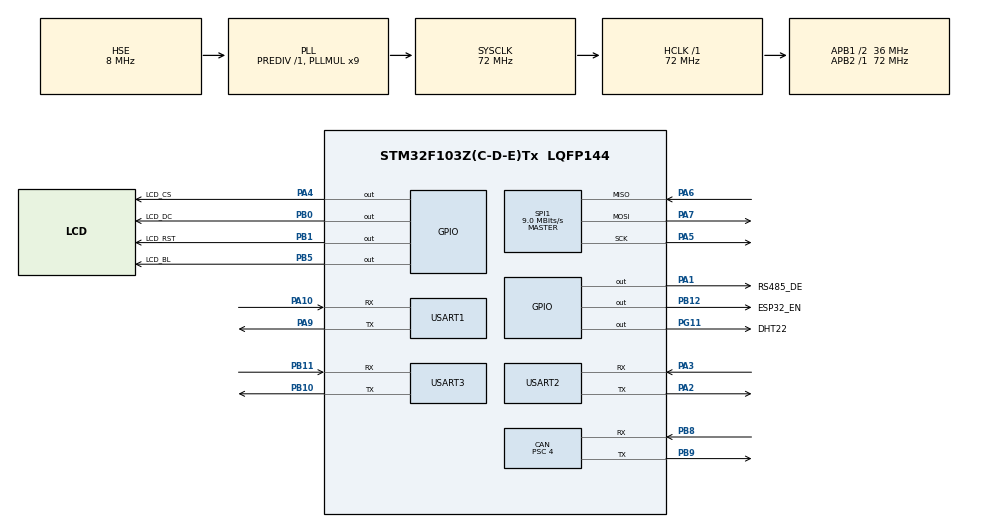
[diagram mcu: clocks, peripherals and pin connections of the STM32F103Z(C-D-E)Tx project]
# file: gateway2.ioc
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CAN.BS1=CAN_BS1_15TQ
CAN.BS2=CAN_BS2_2TQ
CAN.CalculateBaudRate=500000
CAN.CalculateTimeBit=2000
CAN.CalculateTimeQuantum=111.11111111111111
CAN.Prescaler=4
CAN.SJW=CAN_SJW_1TQ
Dma.Request0=USART2_RX
Dma.Request1=USART3_RX
Dma.USART2_RX.0.Direction=DMA_PERIPH_TO_MEMORY
Dma.USART2_RX.0.Instance=DMA1_Channel6
Dma.USART2_RX.0.MemDataAlignment=DMA_MDATAALIGN_BYTE
Dma.USART2_RX.0.MemInc=DMA_MINC_ENABLE
Dma.USART2_RX.0.Mode=DMA_NORMAL
Dma.USART2_RX.0.PeriphDataAlignment=DMA_PDATAALIGN_BYTE
Dma.USART2_RX.0.PeriphInc=DMA_PINC_DISABLE
Dma.USART2_RX.0.Priority=DMA_PRIORITY_LOW
Dma.USART3_RX.1.Direction=DMA_PERIPH_TO_MEMORY
Dma.USART3_RX.1.Instance=DMA1_Channel3
Dma.USART3_RX.1.MemDataAlignment=DMA_MDATAALIGN_BYTE
Dma.USART3_RX.1.MemInc=DMA_MINC_ENABLE
Dma.USART3_RX.1.Mode=DMA_NORMAL
Dma.USART3_RX.1.PeriphDataAlignment=DMA_PDATAALIGN_BYTE
Dma.USART3_RX.1.PeriphInc=DMA_PINC_DISABLE
Dma.USART3_RX.1.Priority=DMA_PRIORITY_LOW
FREERTOS.Tasks01=defaultTask,0,128,StartDefaultTask,Default,NULL,Dynamic,NULL,NULL
IWDG.Prescaler=IWDG_PRESCALER_64
IWDG.Reload=999
Mcu.Family=STM32F1
Mcu.Name=STM32F103Z(C-D-E)Tx
Mcu.Package=LQFP144
NVIC.CAN1_RX0_IRQn=true\:5\:0\:false\:false\:true\:true\:true\:true\:true
NVIC.CAN1_SCE_IRQn=true\:5\:0\:false\:false\:true\:true\:true\:true\:true
NVIC.DMA1_Channel3_IRQn=true\:5\:0\:false\:false\:true\:true\:false\:true\:true
NVIC.DMA1_Channel6_IRQn=true\:5\:0\:false\:false\:true\:true\:false\:true\:true
NVIC.PriorityGroup=NVIC_PRIORITYGROUP_4
NVIC.TIM4_IRQn=true\:15\:0\:false\:false\:true\:false\:false\:true\:true
NVIC.TimeBase=TIM4_IRQn
NVIC.TimeBaseIP=TIM4
NVIC.USART2_IRQn=true\:5\:0\:false\:false\:true\:true\:true\:true\:true
NVIC.USART3_IRQn=true\:5\:0\:false\:false\:true\:true\:true\:true\:true
OSC_IN.Mode=HSE-External-Oscillator
OSC_IN.Signal=RCC_OSC_IN
OSC_OUT.Mode=HSE-External-Oscillator
OSC_OUT.Signal=RCC_OSC_OUT
PA1.GPIO_Label=RS485_DE
PA1.Signal=GPIO_Output
PA10.Mode=Asynchronous
PA10.Signal=USART1_RX
PA13.Mode=Serial_Wire
PA13.Signal=SYS_JTMS-SWDIO
PA14.Mode=Serial_Wire
PA14.Signal=SYS_JTCK-SWCLK
PA2.Mode=Asynchronous
PA2.Signal=USART2_TX
PA3.Mode=Asynchronous
PA3.Signal=USART2_RX
PA4.GPIO_Label=LCD_CS
PA4.PinState=GPIO_PIN_SET
PA4.Signal=GPIO_Output
PA5.Mode=Full_Duplex_Master
PA5.Signal=SPI1_SCK
PA6.Mode=Full_Duplex_Master
PA6.Signal=SPI1_MISO
PA7.Mode=Full_Duplex_Master
PA7.Signal=SPI1_MOSI
PA9.Mode=Asynchronous
PA9.Signal=USART1_TX
PB0.GPIO_Label=LCD_DC
PB0.Signal=GPIO_Output
PB1.GPIO_Label=LCD_RST
PB1.Signal=GPIO_Output
PB10.Mode=Asynchronous
PB10.Signal=USART3_TX
PB11.Mode=Asynchronous
PB11.Signal=USART3_RX
PB12.GPIO_Label=ESP32_EN
PB12.Signal=GPIO_Output
PB5.GPIO_Label=LCD_BL
PB5.PinState=GPIO_PIN_SET
PB5.Signal=GPIO_Output
PB8.GPIO_PuPd=GPIO_PULLUP
PB8.Mode=CAN_Activate
PB8.Signal=CAN_RX
PB9.Mode=CAN_Activate
PB9.Signal=CAN_TX
PG11.GPIO_Label=DHT22
PG11.GPIO_ModeDefaultOutputPP=GPIO_MODE_OUTPUT_OD
PG11.GPIO_PuPd=GPIO_PULLUP
PG11.PinState=GPIO_PIN_SET
PG11.Signal=GPIO_Output
ProjectManager.HeapSize=0x200
ProjectManager.StackSize=0x400
ProjectManager.TargetToolchain=STM32CubeIDE
RCC.AHBFreq_Value=72000000
RCC.APB1CLKDivider=RCC_HCLK_DIV2
RCC.APB1Freq_Value=36000000
RCC.APB1TimFreq_Value=72000000
RCC.APB2Freq_Value=72000000
RCC.APB2TimFreq_Value=72000000
RCC.HCLKFreq_Value=72000000
RCC.PLLMUL=RCC_PLL_MUL9
RCC.PLLSourceVirtual=RCC_PLLSOURCE_HSE
RCC.SYSCLKFreq_VALUE=72000000
RCC.SYSCLKSource=RCC_SYSCLKSOURCE_PLLCLK
RCC.USBFreq_Value=72000000
SPI1.BaudRatePrescaler=SPI_BAUDRATEPRESCALER_8
SPI1.CalculateBaudRate=9.0 MBits/s
SPI1.Direction=SPI_DIRECTION_2LINES
SPI1.Mode=SPI_MODE_MASTER
SPI1.VirtualType=VM_MASTER
USART1.VirtualMode=VM_ASYNC
USART2.VirtualMode=VM_ASYNC
USART3.VirtualMode=VM_ASYNC
VP_FREERTOS_VS_CMSIS_V1.Mode=CMSIS_V1
VP_IWDG_VS_IWDG.Mode=IWDG_Activate
VP_SYS_VS_tim4.Mode=TIM4
board=custom

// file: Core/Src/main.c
/* ============================================================================
 *  ⚠️ 本文件由 tools/make_landing_main.py **拼接生成**，不要手工改它 ——
 *     改模板（templates/main_template.c）或工程 CubeMX 尾巴，然后重新生成。
 *
 *  来源：
 *    第 1 段  templates/main_template.c（生产版：OTA 桥 + 上报节拍 + RTOS 分支）
 *    第 2 段  工程 main.c 自己的句柄/MX_*_Init 声明块（逐字搬）
 *    第 3 段  D:\stm32cubeIDE\gateway2\Core\Src\main.c 的 CubeMX 尾巴
 *             （SystemClock_Config / HAL_TIM_PeriodElapsedCallback(TIM4) /
 *               Error_Handler / assert_failed）
 *  仓库 commit : 3946653
 *  生成时间     : 2026-10-11 20:11:47
 *
 *  ⚠️ 生成后**必须**编译验证一次 —— 直接用：
 *       python tools/make_landing_main.py --out build/landing_main.c --verify-compile
 * ============================================================================ */

/**
 * @file    main_template.c
 * @brief   ★ 上板参考 main.c —— 复制到你的 CubeMX 工程里用
 *
 * ============================================================================
 *  ⚠️ 这是模板，不是编译单元
 *
 *  它**不参与本仓库的构建**（文件名是 `_template.c` 而不是 `.c`，
 *  `test/` 之外没有 Makefile 会碰它）。用法：
 *
 *    1) 在你的 CubeMX 工程里新建 `main.c`（或改现有的）
 *    2) 把下面「==== 复制开始 ====」到「==== 复制结束 ====」之间的内容
 *       搬过去，**保留你自己的 CubeMX 初始化代码**
 *    3) 按 `doc/CubeMX配置清单.md` 配好外设
 *
 *  ----------------------------------------------------------------------------
 *  ⚠️⚠️ 初始化顺序是硬要求，不是建议
 *
 *  下面每一步的顺序都有原因，**调换会导致运行时出现莫名其妙的现象**
 *  （不会编译报错）：
 *
 *  | 步骤 | 必须在这之后 | 否则会怎样 |
 *  |---|---|---|
 *  | `gw_dwt_init()` | `SystemClock_Config()` | 微秒计时偏 8 倍（按 HSI 算的），**DHT22 必然读不出** |
 *  | `gw_fault_port_init()` | 任何可能出错的事之前 | 漏掉"上次怎么崩的"，安全模式失效 |
    g_prog = 0x31u;
 *  | `rs485_port_init()` | `MX_USART2_UART_Init()` | DMA/IDLE 中断没配好，收不到帧 |
 *  | `gw_param_load` | 寄存器表初始化之后 | 上位机读到默认值而不是保存的值 |
 *
 *  本模板的注释里对每一处都标了原因。
 *
 *  ----------------------------------------------------------------------------
 *  ⚠️ 三个大结构体必须是 static
 *
 *      static gw_app_t      g_app;        // 15.8 KB
 *      static gw_uplink_t   g_uplink;     // 14.5 KB
 *      static mb_slave_t    g_slave;
 *      static gw_param_t    g_param;
 *      static gw_timing_t   g_tm;
 *      static gw_sched_t    g_sched;
 *      static gw_log_t      g_log;
 *      static gw_baud_t     g_baud;
 *      static gw_ota_bridge_t g_ota;
 *
 *  放在栈上会立刻溢出（F103 只有 64 KB RAM）。
 *  **栈溢出的症状很隐蔽**：通常是 `UNDEFINSTR`（返回地址被覆盖），
 *  或者 HFSR.FORCED=1 但 CFSR 全 0。
 *
 *  ----------------------------------------------------------------------------
 *  编译依赖（把哪些文件加进工程）
 *
 *      src/     modbus_crc.c  modbus_rtu.c  modbus_master.c
 *               rs485_arbiter.c  gw_pipeline.c  gw_param.c
 *               gw_devinfo.c  gw_frame.c  gw_uplink.c
 *               gw_can_core.c  gw_log.c  gw_fault.c  gw_timing.c
 *               gw_sched.c  gw_cmd.c  gw_ota.c  gw_crc32.c
 *               gw_boot.c  gw_selfcheck.c
 *      drivers/ dht22.c
 *      app/     gw_app.c
 *      port/    gw_dwt.c  rs485_port.c  esp32_port.c  gw_can_port.c
 *               dht22_port_stm32.c  gw_flash_stm32.c  gw_fault_port.c
 *               gw_selfcheck_port.c
 *
 *  头文件搜索路径：`inc`、`drivers`、`app`、`port`
 * ============================================================================
 */

/* ==================== 复制开始 ==================== */

/* USER CODE BEGIN Includes */
#include "main.h"               /* CubeMX 生成（含各 MX_xxx_Init 声明） */

/* ⚠️⚠️ 临时诊断（2026-10-12）：进度码 + Error_Handler 调用者记录。
   .noinit 不参与启动清零，跨复位保留。读法：
     nm 找 g_prog / g_err_from，SWD 读出；addr2line g_err_from 即调用者。 */
__attribute__((section(".noinit"))) volatile uint32_t g_prog;
__attribute__((section(".noinit"))) volatile uint32_t g_err_from;
__attribute__((section(".noinit"))) volatile uint32_t g_err_tick;

#include "gw_config.h"          /* 引脚定义（必须先于其它 port 头） */
#include "gw_app.h"
#include "gw_devinfo.h"
#include "gw_param.h"
#include "gw_timing.h"
#include "gw_timing_port.h"     /* cb_refresh_regs 里填耗时统计用 */
#include "gw_sched.h"
#include "gw_log.h"
#include "gw_fault_port.h"
#include "gw_flash_stm32.h"
#include "gw_dwt.h"
#include "rs485_port.h"
#include "esp32_port.h"
#include "gw_can_port.h"
#include "dht22_port_stm32.h"
#include "gw_selfcheck.h"
#include "gw_baud.h"
#include "gw_baud_port.h"
#include "gw_ota_bridge.h"
#include "gw_ota_port.h"
#include "gw_selfcheck_port.h"

/* ---- LVGL 显示路径（只有 -Lvgl 构建开关打开时才编进来）----
   ⚠️ 缺了这两行会有隐式声明警告：下面 gw_rtos_ui_tick() 里要调
      lvgl_port_init() 与 gw_lvgl_ui_build()，声明分别在
      port/lvgl_port.h 与 app/gw_lvgl_ui.h。 */
#if defined(GW_USE_LVGL)
#include "lvgl_port.h"
#include "gw_lvgl_ui.h"
#endif

/* ==================================================================
 *  ★ 裸机 / FreeRTOS 两种构建由 **GW_USE_FREERTOS** 选择
 *
 *  默认（不定义）= 裸机，行为与以前完全一样。
 *  在 CubeMX 工程里启用 RTOS 时，把 `GW_USE_FREERTOS=1` 定义上
 *  （Project -> C/C++ Build -> Settings -> Preprocessor，或写进 gw_config.h）。
 *
 *  ⚠️ 两条路径**都会被 CI 编译**（"模板类型检查"里编两遍），
 *     所以不存在"某条路径长期没人编、悄悄烂掉"—— 缺陷 Q 就是这么来的。
 *  ⚠️ 落地前置条件（中断向量重定向、堆够不够、栈/优先级自洽）由
 *     `tools/check_rtos_hooks.py` 机械核算，见 doc/FreeRTOS迁移指南.md。
 * ================================================================== */
#if defined(GW_USE_FREERTOS) && (GW_USE_FREERTOS == 1)
#include "gw_rtos.h"            /* 建任务 / 使能 IWDG / 启动调度器 */
/* lcd_backlight：界面起不来时用背光闪 3 下作故障信号，需要它的声明 */
#include "lcd_ili9341.h"
#include "gw_ui.h"              /* 本地界面（手绘 4 页，最低优先级任务）*/
#endif
#include <stdio.h>
#include <string.h>

/* ==================================================================
 *  GW_MEAS_SEQUENTIAL —— 测量专用开关（2026-10-17 新增）
 *
 *  **默认 0 = 量产行为**。置 1 并构建**非 RTOS** 版本，即得到
 *  "M5/M7/M8 测量专用配置"（纯顺序模式，协作式调度不启用）。
 *
 *  为什么需要它：`gw_app_poll()` 的结构是
 *      if (app->sched != 0) { gw_sched_run(...); return; }   <-- 调度模式
 *      gw_timing_begin(app->timing, GW_PHASE_SLAVE); ...      <-- 顺序模式
 *  相位耗时打点**只在顺序模式**执行，而第 12 步总会启用 gw_sched，
 *  于是三个指标在任何出厂配置下都拿不到值：
 *      - RTOS 构建：gw_app_poll() 根本不被调用
 *      - 非 RTOS 构建：走 gw_sched_run() 分支后 return
 *
 *  ⚠️ 代价：关掉 gw_sched 后 deadline_miss 统计不可用（仅测量用，可接受）；
 *     量完必须改回 0 并重建 RTOS 量产镜像。
 * ================================================================== */
#ifndef GW_MEAS_SEQUENTIAL
#define GW_MEAS_SEQUENTIAL 0   /* 量产默认 0；测量时临时改 1 并构建非 RTOS 版 */
#endif

/* ---- 句柄 / MX_*_Init 声明块：从工程 main.c 逐字搬来 ----
 *  ⚠️ 本工程 CubeMX 是"按外设生成 .c/.h"：句柄与 MX_*_Init 的**定义**
 *     在 usart.c / can.c / gpio.c / iwdg.c / spi.c / dma.c 里，声明在
 *     对应的 .h 里；而这个工程的 main.h **一个 MX_ 都没有**。生产模板
 *     没有这块 -> 不搬会报 'huart1 undeclared' 与一堆
 *     'implicit declaration of MX_GPIO_Init'（**编译期**，不是链接期）。
 *     （2026-10-11 手工预演当场发现；现在 CI 会跑 --check --verify-compile）*/
#include "main.h"
#include "can.h"
#include "dma.h"
#include "iwdg.h"
#include "spi.h"
#include "usart.h"
#include "gpio.h"
#include "main.h"               /* CubeMX 生成（含各 MX_xxx_Init 声明） */
#include "gw_config.h"          /* 引脚定义（必须先于其它 port 头） */
#include "gw_app.h"
#include "gw_devinfo.h"
#include "gw_param.h"
#include "gw_timing.h"
#include "gw_timing_port.h"     /* cb_refresh_regs 里填耗时统计用 */
#include "gw_sched.h"
#include "gw_log.h"
#include "gw_fault_port.h"
#include "gw_flash_stm32.h"
#include "gw_dwt.h"
#include "rs485_port.h"
#include "esp32_port.h"
#include "gw_can_port.h"
#include "dht22_port_stm32.h"
#include "gw_selfcheck.h"
#include "gw_baud.h"
#include "gw_baud_port.h"
#include "gw_ota_bridge.h"
#include "gw_ota_port.h"
#include "gw_selfcheck_port.h"
#include "gw_rtos.h"            /* 建任务 / 使能 IWDG / 启动调度器 */
#include "gw_ui.h"              /* 本地界面（手绘 4 页，最低优先级任务）*/
#include <stdio.h>
#include <string.h>
#include "main.h"
#include "can.h"
#include "dma.h"
#include "spi.h"
#include "usart.h"
#include "gpio.h"
void SystemClock_Config(void);
void MX_FREERTOS_Init(void);
void SystemClock_Config(void);
void MX_FREERTOS_Init(void);
/* USER CODE END Includes */

/* ------------------------------------------------------------------
 *  ⚠️ 全部放静态区 —— 栈上放不下（见文件头说明）
 * ------------------------------------------------------------------ */
static mb_regs_t  g_regs;
static mb_slave_t g_slave;
static gw_param_t g_param;
static gw_app_t   g_app;
static gw_timing_t g_tm;
/* ⚠️ 协作式调度器只在裸机下用；RTOS 下 gw_rtos.c 内部有自己的调度器实例
 *    （gw_rtos_create_tasks() 会初始化它，用于 deadline_miss 统计）。
 *    `GW_MEAS_SEQUENTIAL=1`（测量专用）时也不声明，否则会报 unused 警告。 */
#if !(defined(GW_USE_FREERTOS) && (GW_USE_FREERTOS == 1)) && !GW_MEAS_SEQUENTIAL
static gw_sched_t  g_sched;
#endif
static gw_log_t    g_log;

/* 上云与 CAN 的移植层接口（值拷贝给应用层） */
static gw_uplink_port_t g_up;
static gw_can_port_t    g_can;

/* 波特率运行时切换（9600/19200 可配） */
static gw_baud_t g_baud;

/* OTA 下行帧分发 */
static gw_ota_bridge_t g_ota;

/* 上报节拍累加器（秒 -> 毫秒）
 * ⚠️ 两条路径都用它（RTOS 下由 HOUSE 任务调 app_housekeeping() 驱动）。 */
static uint32_t g_report_acc_ms;
static uint32_t g_report_period_s = 10u;    /* 默认 10 秒，会被参数覆盖 */

/* 运行时日志等级（可被下行指令改） */
static gw_log_level_t g_log_level = GW_LOG_INFO;

/* 系统启动原因（供日志与状态位使用） */
static gw_boot_cause_t g_boot_cause;

/* ==================================================================
 *  日志的串口输出通道
 *
 *  ⚠️ 超时要短（20ms）。
 *     日志不该成为阻塞源 —— 没接串口时 HAL_UART_Transmit 会一直
 *     等到超时，把那段时间白白浪费掉；而在时序敏感的路径里
 *     打日志会把功能搞坏。
 * ================================================================== */
static void log_sink_uart(void *ctx, gw_log_level_t lv, gw_log_module_t mod,
                          uint16_t line, uint32_t a0, uint32_t a1)
{
    UART_HandleTypeDef *hu = (UART_HandleTypeDef *)ctx;
    char buf[80];
    int  n;

    /* 格式：[等级][运行秒数][模块:行号] 参数1 参数2
       **行号是关键** —— 没有行号的日志在现场基本没用。 */
    n = snprintf(buf, sizeof(buf), "[%s][%lu][%s:%u] %lu %lu\r\n",
                 gw_log_level_str(lv),
                 (unsigned long)gw_fault_port_uptime_s(),
                 gw_log_module_str(mod),
                 (unsigned)line,
                 (unsigned long)a0, (unsigned long)a1);

    if (n > 0) {
        (void)HAL_UART_Transmit(hu, (uint8_t *)buf, (uint16_t)n, 20u);
    }
}

/* ==================================================================
 *  gw_port_t 的各回调 —— 把应用层与移植层接起来
 *
 *  这些函数都是"一层薄封装"：应用层调它们，它们转调 port 层。
 *  为什么不直接把 rs485_port_* 的函数指针填进 vtable：
 *    因为签名不完全一致（port 层没有 ctx 参数）。
 *    包一层比强转函数指针安全 —— 后者是未定义行为。
 * ================================================================== */

static int cb_take_frame(void *ctx, uint8_t *buf, uint16_t cap, uint16_t *len)
{
    (void)ctx;
    return (rs485_port_take_frame(buf, cap, len) == RS485_OK) ? 0 : -1;
}

static int cb_send(void *ctx, const uint8_t *buf, uint16_t len)
{
    (void)ctx;
    return (rs485_port_send(buf, len) == RS485_OK) ? 0 : -1;
}

static int cb_bus_acquire(void *ctx)
{
    (void)ctx;
    /* 从站角色：它在仲裁里优先级最高，可以抢占主站 */
    return rs485_bus_acquire(RS485_ROLE_SLAVE);
}

static int cb_send_held(void *ctx, const uint8_t *buf, uint16_t len)
{
    (void)ctx;
    /* 主站发请求：以 MASTER 角色发送（vtable 保证已经拿到总线） */
    return (rs485_port_send_as(RS485_ROLE_MASTER, buf, len) == RS485_OK) ? 0 : -1;
}

static void cb_enter_wait(void *ctx) { (void)ctx; rs485_bus_enter_wait(); }
static void cb_exit_wait(void *ctx)  { (void)ctx; rs485_bus_exit_wait(); }

static int cb_release_master(void *ctx)
{
    (void)ctx;
    return rs485_bus_release_master();
}

static int cb_in_wait(void *ctx)
{
    (void)ctx;
    return rs485_bus_in_wait();
}

static int cb_holds_bus(void *ctx)
{
    (void)ctx;
    return rs485_master_holds_bus();
}

static mb_regs_t *cb_get_regs(void *ctx)
{
    (void)ctx;
    /* ⚠️ 只取指针，不刷新内容 —— 这个回调只在 gw_app_init 时被调一次。
       实时字段的刷新在 cb_refresh_regs（见 gw_app.h 的说明）。 */
    return &g_regs;
}

/**
 * DWT 微秒计时的适配函数（给 `gw_timing_init()` 用）
 *
 * ⚠️ **为什么需要这一层包装**：
 *     `gw_dwt_us()` 的签名是 `uint32_t gw_dwt_us(void)`，
 *     而 `gw_timing_init()` 要的是 `uint32_t (*)(void *ctx)` —— 多一个 ctx 参数。
 *     直接把函数指针强转虽然能编过，但那是**未定义行为**：调用方按"有一个参数"
 *     传寄存器，被调用方按"没有参数"实现。ARM 上恰好不出错，
 *     换个编译器或优化级别就可能出问题。
 *
 * ⚠️ 2026-10-17 修复记录：本文件此前把时间源写成 `(uint32_t (*)(void *))0`
 *     （**空指针**），于是 `gw_timing_begin()` 见到 `tm->now_us == 0` 直接 return ——
 *     整个计时插桩**静默失效**，`IREG_TM_SLAVE_MAX / TM_LOOP_MAX / TM_LOAD_PERMIL`
 *     恒为哨兵 `0xFFFE`。而且 `gw_timing_port_bind()` 也从未被调用，
 *     即使测到也读不出寄存器。两处均已补上（见第 11 步）。
 *     这类失效难查的原因：**读出来不是哨兵就是 0，看起来像"性能极好"**。
 */
static uint32_t timing_now_us(void *ctx)
{
    (void)ctx;                          /* DWT 不需要上下文 */
    return gw_dwt_us();
}

/**
 * 刷新寄存器表里的实时字段（诊断 / 耗时统计）
 *
 * ⚠️ 每轮从站任务开头被调用。不能放在 cb_get_regs 里 ——
 *    那个回调只在 gw_app_init() 时调一次，Modbus 读到的会永远是
 *    启动时的陈旧快照（本项上板排查时真踩过这个坑）。
 */
static void cb_refresh_regs(void *ctx)
{
    (void)ctx;

    rs485_port_fill_diag(g_regs.input, (uint16_t)MB_INPUT_REG_COUNT);
    (void)gw_timing_port_fill(g_regs.input, (uint16_t)MB_INPUT_REG_COUNT);
}

static dht22_err_t cb_dht_sample(void *ctx, dht22_filtered_t *f, uint8_t retry)
{
    (void)ctx;

    /* ⚠️ 单总线响应窗口的临界区已由移植层实现（缺陷 AF，2026-10-13）——
       `port/dht22_port_stm32.c` 在 `dht22_stm32_init()` 里注册了
       enter/exit_critical，驱动只在"释放总线 -> 收完 40 bit"这约 4.2ms
       内关中断，而不是把整段（含 18ms 起始信号）都关掉。
       所以这里**不需要**再包临界区，直接调即可。 */
    return dht22_stm32_sample(f, retry);
}
/* ---- 下行指令用到的三个回调 ---- */

static int cb_param_save(void *ctx)
{
    gw_params_t p;
    uint8_t     buf[GW_PARAMS_WIRE_LEN];
    uint32_t    n;

    (void)ctx;

    /* 从寄存器表取参数 -> 打包 -> 落盘 */
    gw_params_from_regs(&p, &g_regs);
    if (gw_params_validate(&p) != GW_PARAMS_OK) {
        return -1;                  /* 寄存器里的值非法，不保存 */
    }
    n = gw_params_pack(&p, buf, sizeof(buf));
    if (n == 0u) {
        return -1;
    }
    return (gw_param_save(&g_param, buf, n, GW_PARAMS_VERSION) == GW_PARAM_OK)
           ? 0 : -1;
}

static int cb_param_restore(void *ctx)
{
    gw_params_t p;
    uint8_t     buf[GW_PARAMS_WIRE_LEN];
    uint32_t    n;

    (void)ctx;

    /* 默认值 -> 落盘 -> 同步进寄存器表 */
    gw_params_default(&p);
    n = gw_params_pack(&p, buf, sizeof(buf));
    if (n == 0u) {
        return -1;
    }
    if (gw_param_save(&g_param, buf, n, GW_PARAMS_VERSION) != GW_PARAM_OK) {
        return -1;
    }
    gw_params_to_regs(&p, &g_regs);
    return 0;
}

static void cb_reboot(void *ctx)
{
    (void)ctx;
    /* ⚠️ 延时 300ms：让下行指令的 ACK 帧有机会发出去。
       不延时的话上位机永远收不到"重启指令已接受"，
       会以为指令丢了，可能重复下发。 */
    gw_fault_port_reset(300u);
    /* 不返回 */
}

/* ---- 上云（ESP32）移植层 ---- */

static int up_esp_send(void *ctx, const uint8_t *buf, uint16_t len)
{
    (void)ctx;
    return (esp32_port_send(buf, len) == ESP32_OK) ? 0 : -1;
}

static void up_esp_tick(void *ctx)
{
    (void)ctx;
    esp32_port_tick();
}

static int up_esp_take_frame(void *ctx, uint8_t *out_type, uint8_t *payload,
                             uint16_t cap, uint16_t *out_len)
{
    (void)ctx;
    return (esp32_port_take_frame(out_type, payload, cap, out_len) == ESP32_OK)
           ? 0 : -1;
}

static uint32_t up_now_ms(void *ctx)
{
    (void)ctx;
    /* 「立即上报」的节拍 */
    return HAL_GetTick();
}

/* ---- CAN 移植层 ---- */

static void can_tick_cb(void *ctx, uint32_t elapsed_ms)
{
    (void)ctx;
    /* can_port_poll 返回本次收到的帧数；它内部已经把帧喂给 CAN 核心，
       所以这里不需要再处理返回值。 */
    (void)can_port_poll(elapsed_ms);
}

static gw_can_core_t *can_get_core_cb(void *ctx)
{
    (void)ctx;
    return can_port_core();
}

/* ==================================================================
 *  OTA 帧回调 —— 把应用层的分派接到 OTA 桥接上
 *
 *  ⚠️ 应用层不直接持有 gw_ota_bridge_t（那会让它依赖 Flash 地址布局），
 *     所以这里包一层：应用层给出"有个 OTA 帧"，
 *     我们知道该转给哪个对象。
 *
 *  返回值语义由应用层原样记录（不解释），
 *  真正的 ACK/NACK 由 gw_ota_bridge_frame 生成。
 * ================================================================== */
static int ota_handler_cb(void *ctx, uint8_t type,
                          const uint8_t *payload, uint16_t len)
{
    gw_ota_bridge_t *ob = (gw_ota_bridge_t *)ctx;
    uint8_t  ack[GW_OTA_ACK_PAYLOAD_LEN];
    uint16_t acklen = 0u;
    gw_ota_br_t r;

    r = gw_ota_bridge_frame(ob, type, payload, len,
                            ack, (uint16_t)sizeof(ack), &acklen);

    /* 回 ACK/NACK 给 ESP32 —— 连 BUSY 与 DUPLICATE 也要回，
       否则上位机在等一个永远不会来的应答。 */
    if (acklen > 0u) {
        uint8_t  frame[GW_FRAME_MAX_TOTAL];
        uint16_t flen = 0u;

        if (gw_frame_build(frame, (uint16_t)sizeof(frame), GW_FT_OTA_ACK,
                           ack, acklen, &flen) == GW_FRAME_OK) {
            if (g_app.up.esp_send != 0) {
                (void)g_app.up.esp_send(g_app.up.ctx, frame, flen);
            }
        }
    }

    /* 返回给应用层：>0 表示"非致命"。BUSY 与 DUPLICATE 都属于这一类 ——
       它们不该被记成错误（DUPLICATE 是链路上正常的重传）。 */
    if (r == GW_OTA_BR_ERR_BUSY || r == GW_OTA_BR_ERR_DUPLICATE) {
        return 1;
    }
    return (int)r;
}

/* ==================================================================
 *  日志输出（把环形缓冲吐到串口）
 * ================================================================== */
static void flush_log(void)
{
    /* ⚠️⚠️ 2026-10-14：**不要 rewind**。
     *
     *  gw_log_rewind() 把 read_idx 归零，而 gw_log_flush() 是从 read_idx 读到尾 ——
     *  于是 flush_log() 每被调用一次，就把**整个环形缓冲重放一遍**。
     *  它被放在主循环末尾（每轮都调）=> 32 条 x 每轮
     *  => 实测调试串口 ~10KB/s、每秒上千行：白占 CPU，还可能挤占 RS485 的时序。
     *
     *  flush 的正确语义是"把**新**日志吐出去"（从当前 read_idx 继续）。
     *  "开机时重放历史"是另一件事，由 dump_log_history() 负责，**它才该 rewind**。 */
    (void)gw_log_flush(&g_log);
}

/* ==================================================================
 *  跑自检并打报告
 *
 *  ⚠️ 自检**会真的动硬件**（详见 port/gw_selfcheck_port.h）：
 *     - FLASH 项会擦写参数区最旧的槽（不破坏有效参数，消耗 1 次寿命）
 *     - RS485 项会申请/释放总线（总线上有别的设备时建议关掉）
 *
 *  不想让它动 Flash 就加：
 *      gw_selfcheck_port_set_flash(0);
 * ================================================================== */
static int run_selfcheck(void)
{
    static gw_selfcheck_t sc;
    static char           buf[2048];

    if (gw_selfcheck_port_init(&sc) != 0) {
        return 0;
    }

    (void)gw_selfcheck_run(&sc);
    (void)gw_selfcheck_report(&sc, buf, sizeof(buf));

    /* 报告直接打串口 —— 不经过日志模块，
       因为自检就是为了确认"串口/时钟这些基础项到底通不通"，
       如果它自己依赖日志模块，日志模块坏了就什么都看不到。 */
    (void)HAL_UART_Transmit(&huart1, (uint8_t *)buf,
                            (uint16_t)strlen(buf), 500u);

    return gw_selfcheck_foundation_ok(&sc);
}

/* ==================================================================
 *  main
 * ================================================================== */
/* ==================================================================
 *  ★★ 主循环"内务"：两条路径（裸机 / RTOS）**共用**
 *
 *  ⚠️⚠️ 为什么必须抽出来（缺陷 W，2026-10-11）：
 *     把 main 拆成"裸机主循环 / RTOS 分支"时，最容易漏的不是任务体，
 *     而是**循环里剩下的那些内务**。当时 RTOS 分支只写了
 *     "建任务 + 使能 IWDG + 启动调度器"，于是下面这些**一个都不执行**：
 *
 *        gw_fault_port_tick()          -> 运行时长/故障计数不再推进
 *                                         （而 OTA 确认要读它！）
 *        gw_log_tick()                 -> 日志时标与自动刷新停摆
 *        gw_ota_bridge_tick()          -> **OTA 传输状态机不走 -> 根本收不下固件**
 *        gw_ota_confirm_running()      -> **升级永远不确认 -> 3 次后必然回滚**
 *        上报节拍 / 波特率切换 / 重启挂起 -> 全部失效
 *
 *    也就是说：RTOS 一落地，**OTA 与上报整条链路就死了** ——
 *    而四步实验（⑤ 要做的）第一项就会失败。这些都是**静默**的：
 *    编译、链接、CI 全都不会报。
 *
 *  ⚠️ 调用方：
 *      裸机：主循环每轮调（dt 由 HAL_GetTick 实测）
 *      RTOS：HOUSE 任务（优先级最低、10ms）通过强符号
 *            `gw_rtos_housekeeping()` 调（见下面）
 * ================================================================== */
static void app_housekeeping(uint32_t dt)
{
    static uint32_t confirm_acc = 0u;   /* OTA 确认的 1 秒节拍 */

    gw_fault_port_tick(dt);
    gw_log_tick(&g_log, dt);

    /* ---- 周期刷新诊断寄存器（本地 UI / 任何本地读取都依赖它）----
     * ⚠️ 诊断寄存器原本只在从站任务应答前刷新（gw_app.h:180），空闲时是
     *    初始化快照（uptime 恒 0）；本地屏幕直接读它会显示开机那一刻的值。
     *    2026-10-11 浸泡巡检正是踩到这个。这里由 HOUSE 每轮补一次刷新 ->
     *    主站与本地屏幕读到同一份、且都是新的数据。
     * ⚠️ 数据类寄存器不用在这里刷：HOUSE 入口已做 sync+gw_pipeline_sync_regs。 */
    if (g_app.port.refresh_regs != 0) {
        g_app.port.refresh_regs(g_app.port.ctx);
    }

    /* ---- 上报节拍 ----
       周期从保持寄存器读（上位机或下行指令可改）。 */
    {
        uint16_t p = g_regs.holding[HREG_REPORT_PERIOD];

        if (p >= 1u && p <= 3600u) {
            g_report_period_s = p;
        }
        g_report_acc_ms += dt;
        if (g_report_acc_ms >= g_report_period_s * 1000u) {
            g_report_acc_ms = 0u;
            (void)gw_app_submit_telemetry(&g_app);
        }
    }

    /* ---- 下行指令请求的"立即上报" ---- */
    if (gw_app_take_report_now(&g_app) != 0) {
        (void)gw_app_submit_telemetry(&g_app);
    }

    /* ---- 波特率运行时切换 ----
     *
     * 上位机写 HREG_BAUDRATE 之后，这里把请求交给状态机，
     * 由它挑一个"总线空闲且已过静默期"的时机真正切换。
     *
     * ⚠️ 三个条件缺一不可（见 inc/gw_baud.h）：
     *      不在发送中 / 不在主站等待窗口 / 过了静默期
     *    否则应答的后半段会用新波特率发出，对方错位同步，
     *    接下来连续几帧都失败 —— 现场表现是"改了波特率通信就乱了"。
     */
    {
        uint32_t want = gw_baud_from_code(g_regs.holding[HREG_BAUDRATE]);

        /* 只有与当前生效值不同才登记请求。
           上位机会周期性写同一个值，每次都登记会把统计刷爆。 */
        if (want != 0u && want != gw_baud_current(&g_baud)) {
            (void)gw_baud_request(&g_baud, want);
        }

        /* 两个"不安全"信号都来自 RS485 移植层 */
        if (gw_baud_tick(&g_baud, dt,
                         (gw_baud_port_busy() != 0) ? 1 : 0,
                         (rs485_master_holds_bus() != 0) ? 1 : 0) != 0) {
            if (gw_baud_apply(&g_baud) != 0) {
                GW_LOG_ERR(&g_log, GW_LOG_MOD_RS485,
                           gw_baud_pending(&g_baud), 3u);
            } else {
                GW_LOG_INF(&g_log, GW_LOG_MOD_RS485,
                           gw_baud_current(&g_baud), 0u);
            }
        }
    }

    /* ---- OTA：擦除之外的部分（擦除在下面单独做）---- */
    gw_ota_bridge_tick(&g_ota);

    /* ---- OTA：确认这次的升级（必须有，否则升级会被无故回滚）----
     *
     *  ⚠️ 这一段的必要性来自一个真实缺陷：
     *     `gw_ota_should_confirm()` / `gw_ota_meta_confirm()`
     *     原本**只有定义、声明和测试，生产代码里一个调用者都没有**。
     *     于是升级到 B 之后 pending 永远是 1：
     *         复位 -> Bootloader 看到 pending=1 -> boot_tries++
     *              -> 累计 3 次 -> **把完全正常的新固件回滚掉**
     *
     *  ⚠️ 用一步式封装，不要自己拼四步（漏 save 不会报错，只是 pending 永不清）。
     *  ⚠️ 每秒一次（不是每轮）：稳态下开销 = 每秒一次 Flash 读。 */
    confirm_acc += dt;
    if (confirm_acc >= 1000u) {
        confirm_acc = 0u;

        /* len/crc 传 0：它们只是诊断信息（见 gw_ota.h 的说明）。
           ⚠️ 必须传 `gw_ota_running_slot()`：确认的前提是"待确认的升级
              就是我现在跑的这份"（缺陷 P）。 */
        gw_ota_confirm_r_t cr2 = gw_ota_confirm_running(
            gw_ota_port_io(), gw_ota_running_slot(),
            gw_fault_port_uptime_s(), 0u, 0u);

        if (cr2 == GW_OTA_CONFIRM_R_DONE) {
            GW_LOG_WRN(&g_log, GW_LOG_MOD_APP, 6u, 0u);
        } else if (cr2 == GW_OTA_CONFIRM_R_WRONG_SLOT) {
            /* ⚠️ 专门一个日志码（缺陷 P 的症状），每秒一次会变噪音，只报第一次。 */
            static uint8_t ota_ws_warned = 0u;
            if (ota_ws_warned == 0u) {
                ota_ws_warned = 1u;
                GW_LOG_WRN(&g_log, GW_LOG_MOD_APP, 7u, 0u);
            }
        }
    }

    /* ---- 日志输出放在最后 ----
       让本轮产生的日志一起吐出去，而不是在业务逻辑中间阻塞串口。 */
    flush_log();

    /* ---- OTA：执行待处理的擦除 ----
     *
     * ⚠️ 放**末尾**：擦一页 20~40 ms，放中间会让本轮的 RS485 响应晚 40 ms。
     *    `gw_ota_port.c` 的 erase 内部逐页擦 + 逐页"让出 CPU"
     *    （裸机是空函数，RTOS 下是 `vTaskDelay(1)` —— 缺陷 Q 的修法），
     *    所以 RTOS 下这一整段擦除**不会**占着 CPU 不放，
     *    Modbus 从站与看门狗都不受影响。 */
    if (gw_ota_bridge_begin_pending(&g_ota) != 0) {
        if (gw_ota_bridge_do_begin(&g_ota) != 0) {
            GW_LOG_ERR(&g_log, GW_LOG_MOD_APP,
                       (uint32_t)gw_ota_bridge_state(&g_ota), 4u);
        } else {
            GW_LOG_WRN(&g_log, GW_LOG_MOD_APP,
                       (uint32_t)gw_ota_port_stats()->pages, 0u);
        }
    }

    /* ---- OTA：升级完成，延时重启 ----
     *
     * ⚠️ 必须先让 ACK 发出去（已经在帧处理里发出去了），再由这里重启。
     * ⚠️ 用 gw_fault_port_reset(延时) 而不是 HAL_NVIC_SystemReset()：
     *    前者会先把复位原因写进 .noinit，重启后能看出"这是 OTA 主动重启"。 */
    if (gw_ota_bridge_reboot_pending(&g_ota) != 0) {
        GW_LOG_WRN(&g_log, GW_LOG_MOD_APP, 5u, 0u);
        flush_log();
        gw_fault_port_reset(500u);      /* 不返回 */
    }
}

#if defined(GW_USE_FREERTOS) && (GW_USE_FREERTOS == 1)
/* ★ RTOS 下由 HOUSE 任务周期调用（`port/gw_rtos.c` 里是弱符号空实现）。
 *
 *  ⚠️ 这是个**强定义覆盖弱符号**的钩子：如果这段被删掉，链接不会报错，
 *     只会静默地什么都不做（= 缺陷 W 重现）。所以 CI 里有文本检查盯着
 *     本文件必须出现 `void gw_rtos_housekeeping(`（tools/check_rtos_hooks.py）。 */
/* ==================================================================
 *  本地 UI 的接入（手绘 4 页，见 app/gw_ui.h）
 *
 *  三条纪律（都是本次设计时定下的，改这里前先读一遍）：
 *   1) UI **只读**寄存器表、**只经 set_hreg 写**保持寄存器 ——
 *      所以屏幕与 Modbus 主站看到的永远是同一份数据，不存在两份状态。
 *   2) 寄存器表由 HOUSE 周期刷新（见 app_housekeeping 里那段），
 *      否则 UI 会在空闲时读到开机的初始化快照。
 *   3) 界面跑在**最低优先级**任务里（GW_PRIO_UI = 1，与 HOUSE 同级），
 *      业务任务一就绪就抢占它 —— 这才是"刷屏不阻塞采集与上云"的机制。
 * ================================================================== */

static const uint16_t *ui_get_iregs(void)
{
    return g_regs.input;
}

static const uint16_t *ui_get_hregs(void)
{
    return g_regs.holding;
}

static void ui_set_hreg(uint16_t idx, uint16_t val)
{
    /* ⚠️ 不在这里做"应用"：保持寄存器是唯一权威，
       真正的应用由 app_housekeeping 每轮读它完成（波特率/上报周期都是这么做的）。
       这样 UI 写与主站写走的是**完全相同**的路径。 */
    if (idx < MB_HOLDING_REG_COUNT) {
        g_regs.holding[idx] = val;
    }
}

/* 屏幕不在时置 1：将来可以由上报/寄存器把它暴露出去 */
static uint8_t s_ui_absent = 0u;

static const gw_ui_port_t g_ui_port = {
    ui_get_iregs, ui_get_hregs, ui_set_hreg
};

/* 工程侧覆盖弱钩子：UI 每次被调度到就刷一拍（dt 用实测值）*/
void gw_rtos_ui_tick(uint32_t dt_ms)
{
#if defined(GW_USE_LVGL)
    /* LVGL 路径：推进时基 -> 用寄存器表快照刷数据 -> 跑一次 LVGL 定时器/绘制。
       ⚠️ 顺序不能反：先 tick_inc 再 handler，否则 LVGL 的时间基准落后一拍，
          动画与定时器都会慢一个 UI 周期（50ms）。
       ⚠️ 数据仍走 g_ui_port（与自绘界面同一个 vtable）—— 两条显示路径读的是
          同一份寄存器快照，所以"左右对比"才有意义。 */
    lvgl_port_tick(dt_ms);
    gw_lvgl_ui_update(g_ui_port.get_iregs());
    lvgl_port_handler();
#else
    gw_ui_tick(dt_ms);
#endif
}

void gw_rtos_housekeeping(uint32_t dt_ms)
{
    app_housekeeping(dt_ms);
}
#endif

/* ⚠️ 界面初始化里的长操作（全屏填充）在 1.1MHz SPI 下会超过看门狗窗口，
   所以由工程侧提供强定义，让界面在长操作前后主动喂狗。 */
/* ⚠️ LCD 每次等待都顺带喂狗（驱动里是弱符号，这里给强定义）*/
void lcd_watchdog_feed(void)
{
    (void)HAL_IWDG_Refresh(&hiwdg);
}

void gw_ui_watchdog_feed(void)
{
    (void)HAL_IWDG_Refresh(&hiwdg);
}

int main(void)
{
    gw_port_t port;

    /* ---------------- 1) CubeMX 生成的外设初始化 ----------------
     *
     * ⚠️ 顺序与 CubeMX 默认一致，不要改动。
     */
    /* ⚠️ 被引导程序跳转过来时，PRIMASK 是引导程序留下的"关中断"状态
       （复位会自动清零，跳转**不会**）—— 不显式打开，TIM4 中断永远不进来、
       HAL_GetTick 恒为 0，所有带超时的 HAL 调用直接挂死。
       本行在"直接复位启动"时是无害的空操作；详细说明见 L0 模板。 */
    __enable_irq();

    HAL_Init();
    g_prog = 0x10u;
    SystemClock_Config();           /* ⚠️ 必须在 gw_dwt_init 之前 */
    g_prog = 0x11u;
    MX_GPIO_Init();
    g_prog = 0x20u;
    MX_DMA_Init();                  /* RS485 与 ESP32 都用了 DMA */
    MX_USART1_UART_Init();          /* 日志口 */
    g_prog = 0x21u;
    MX_USART2_UART_Init();          /* RS485 */
    g_prog = 0x22u;
    MX_USART3_UART_Init();          /* ESP32 */
    g_prog = 0x23u;
    MX_CAN_Init();
    g_prog = 0x24u;
    MX_SPI1_Init();          /* ⚠️ 本地屏幕（ILI9341/XPT2046）走 SPI1。
    g_prog = 0x26u;
                              *    2026-10-11 实测教训：漏了这句 ->
                              *    hspi1 全零 -> Instance==NULL ->
                              *    启动早期 HardFault -> 安全模式
                              *    （与 hiwdg.Instance==0 同一类）*/

    MX_IWDG_Init();                 /* 见模板注释：句柄必须先初始化，否则 HAL_IWDG_Init 会 HardFault */
    g_prog = 0x25u;
    /* ⚠️ 调度器起来之前**必须自己喂狗**（2026-10-12 板上实测的复位循环）：
     *   看门狗由 MX_IWDG_Init() 在启动早期就开启（1.6s），而第一次真正的喂狗
     *   要等调度器起来后的空闲钩子 —— 中间这段（启动日志 + 初始化）没人喂。
     *   实测那段约 1.3 秒，加上界面初始化 0.3 秒就越线，现象是"每次停在
     *   同一个进度码 + boot_count 一直涨"。所以这里先把最长的那个间隔封住。 */
    (void)HAL_IWDG_Refresh(&hiwdg);
    g_prog = 0x30u;
    g_prog = 0x40u;

    /* ---------------- 2) 故障模块（**最先**） ----------------
     *
     * 必须在任何可能出错的事之前：它要读 `.noinit` 判定
     * "上次是怎么启动的"，晚了就覆盖不到了。
     *
     * ⚠️ 它依赖 `.noinit` 段跨复位存活。实测（GNU ld + ARM GCC）：
     *    **通常不需要**手工改链接脚本 —— ld 会自动创建该段并放在
     *    .bss 之外。详细数据见 port/gw_fault_port.h。
     *
     *    **验证方法**：跑一次 -> 按复位 -> 看 boot_count 是否 +1。
     *    不增长就说明没生效。注意 `gw_fault_port_selfcheck()` 查不出
     *    这个问题（它只验证内存可写，查不出"是否被启动代码清零"）。
     */
    g_boot_cause = gw_fault_port_init();

    /* ---------------- 3) DWT 微秒计时 ----------------
     *
     * ⚠️ 必须在 SystemClock_Config 之后：
     *    DWT 的 CYCCNT 按 CPU 周期计数，"1 微秒等于多少周期"
     *    是用 SystemCoreClock 算出来的。时钟没配好就初始化，
     *    微秒计时会偏（例如按 8MHz HSI 算，实际 72MHz，
     *    于是所有延时都短了 9 倍）—— **DHT22 必然读不出**。
     */
    gw_dwt_init();

    /* ---------------- 4) 日志 ---------------- */
    {
        gw_log_io_t io;

        memset(&io, 0, sizeof(io));
        io.sink_text = log_sink_uart;
        io.ctx       = &huart1;     /* CubeMX 生成的句柄名 */
        (void)gw_log_init(&g_log, &io, g_log_level);
    }

    /* ---------------- 5) 从站与寄存器表 ---------------- */

    /* ⚠️ 这里必须把 rs485_port 的从站与寄存器表**交给它自己**：
       rs485_port_init 内部会创建这两个对象并通过
       rs485_get_slave() / rs485_get_regs() 暴露出来。
       我们自己不再另建一份 —— 那样会有两份寄存器表，
       而"两份数据源"迟早不一致。 */
    if (rs485_port_init(GW_RS485_DEFAULT_ADDR) != RS485_OK) {
        GW_LOG_ERR(&g_log, GW_LOG_MOD_RS485, 0u, 0u);
        /* 从站初始化失败不阻止启动：也许只是参数问题，
           主站与上云仍可能工作。 */
    }
    g_slave = *rs485_get_slave();       /* 值拷贝（应用层只读它） */
    memcpy(&g_regs, rs485_get_regs(), sizeof(g_regs));

    /* ---------------- 6) Flash 参数 ----------------
     *
     * ⚠️ 加载失败**必须继续启动**：
     *    参数丢了不该让设备变砖。用默认值起来，
     *    让上位机重新下发即可。
     *
     * 「四道关卡」（读取成功 / 长度合法 / 反序列化+校验 / 版本匹配）
     * 都封装在 `gw_params_pick_startup()` 里，已由 test_devinfo.c 的
     * 116 项测试覆盖。**不要在 main 里重写这段判断** ——
     * 那份逻辑里有几个容易漏的点（例如 slave_addr=0 会让设备变广播地址）。
     */
    {
        static uint8_t pbuf[GW_PARAM_MAX_DATA];
        uint32_t    plen = 0u;
        uint16_t    pver = 0u;
        int32_t     lret;
        gw_param_err_t  pret;
        gw_param_pick_t pick;

        /* ⚠️⚠️ `gw_param_init()` 的返回值**不是"故障"判据**（2026-10-14 实测澄清）：
         *   参数扇区从未写过时（读 0x0807C000 全 0xFF）必然返回
         *   GW_PARAM_ERR_NO_VALID —— 那是**首次上电的正常状态**，
         *   下面 gw_params_pick_startup() 会回落到默认值。
         *   所以 NO_VALID 记 INFO，**其它**非 OK 才记 ERR（真故障），
         *   且 arg0 必须带**真实错误码**（枚举见 gw_param_strerror()）。
         *   历史：原来一律 ERR + 写死 1u，导致每次上电都刷 `[E][PARAM:890] 1 0`。 */
        pret = gw_param_init(&g_param, gw_flash_stm32_iface());
        if (pret == GW_PARAM_ERR_NO_VALID) {
            GW_LOG_INF(&g_log, GW_LOG_MOD_PARAM, (uint32_t)pret, 0u);
        } else if (pret != GW_PARAM_OK) {
            GW_LOG_ERR(&g_log, GW_LOG_MOD_PARAM, (uint32_t)pret, 0u);
        }

        lret = (int32_t)gw_param_load(&g_param, pbuf, sizeof(pbuf),
                                      &plen, &pver);

        (void)gw_params_pick_startup(lret, pbuf, plen, pver, &pick);

        /* 无论来源是哪，都同步进寄存器表 ——
           这样上位机第一次读就能看到确定的值。 */
        gw_params_to_regs(&pick.params, &g_regs);

        if (pick.source == GW_PARAM_SRC_FLASH) {
            g_report_period_s = pick.params.report_period_s;
            GW_LOG_INF(&g_log, GW_LOG_MOD_PARAM, plen, pver);
        } else {
            g_report_period_s = pick.params.report_period_s;
            /* ⚠️ 用默认值起来时**不写 Flash**。
               每次上电都写一遍会很快耗完擦写寿命（约 1 万次）。
               等上位机显式下发保存命令即可。 */
            GW_LOG_WRN(&g_log, GW_LOG_MOD_PARAM,
                       (uint32_t)pick.reason, 1u);
        }

        if (g_report_period_s < 1u || g_report_period_s > 3600u) {
            g_report_period_s = 10u;
        }
    }

    /* ---------------- 7) 应用层 ---------------- */
    {
        memset(&port, 0, sizeof(port));
        port.rs485_take_frame       = cb_take_frame;
        port.rs485_send             = cb_send;
        port.rs485_bus_acquire      = cb_bus_acquire;
        port.rs485_send_held        = cb_send_held;
        port.rs485_enter_wait       = cb_enter_wait;
        port.rs485_exit_wait        = cb_exit_wait;
        port.rs485_release_master   = cb_release_master;
        port.rs485_in_wait          = cb_in_wait;
        port.rs485_master_holds_bus = cb_holds_bus;
        port.get_regs               = cb_get_regs;
    port.refresh_regs           = cb_refresh_regs;
        port.dht_sample             = cb_dht_sample;
        port.param_save             = cb_param_save;
        port.param_restore          = cb_param_restore;
        port.reboot                 = cb_reboot;

        if (gw_app_init(&g_app, &g_slave, &port) != 0) {
            GW_LOG_ERR(&g_log, GW_LOG_MOD_APP, 1u, 0u);
            for (;;) { }            /* 应用层都起不来，没必要往下走 */
        }
    }

    /* ---------------- 8) DHT22 硬件层 ---------------- */
    (void)dht22_stm32_init();

    /* ---------------- 9) 上云（ESP32） ----------------
     *
     * ⚠️ 三个回调缺一个，gw_app_enable_uplink 会把整个上云**静默禁用**
     *    （见它的实现）。所以这里三个都填。 */
    {
        memset(&g_up, 0, sizeof(g_up));
        g_up.esp_send       = up_esp_send;
        g_up.esp_tick       = up_esp_tick;
        g_up.esp_take_frame = up_esp_take_frame;
        g_up.now_ms         = up_now_ms;

        if (esp32_port_init() != ESP32_OK) {
            GW_LOG_WRN(&g_log, GW_LOG_MOD_UPLINK, 0u, 0u);
        }
        (void)gw_app_enable_uplink(&g_app, &g_up, (uint32_t)100000u);
    }

    /* ---------------- 10) CAN ----------------
     *
     * 滤波 ID / 掩码来自保持寄存器（上位机可配）。 */
    {
        uint16_t fid = (uint16_t)((g_regs.holding[HREG_CAN_FILT_ID_HI] << 8)
                                  | g_regs.holding[HREG_CAN_FILT_ID_LO]);
        uint16_t fmsk = (uint16_t)((g_regs.holding[HREG_CAN_FILT_MSK_HI] << 8)
                                   | g_regs.holding[HREG_CAN_FILT_MSK_LO]);

        memset(&g_can, 0, sizeof(g_can));
        g_can.tick     = can_tick_cb;
        g_can.get_core = can_get_core_cb;

        if (can_port_init(fid, fmsk) != CAN_PORT_OK) {
            GW_LOG_WRN(&g_log, GW_LOG_MOD_CAN, fid, fmsk);
        }
        (void)gw_app_enable_can(&g_app, &g_can);
    }

    /* ---------------- 11) 时间预算统计 ----------------
     *
     * ⚠️ 三件事必须**同时**成立，缺一件就退化成"读出来全是 0 或哨兵"：
     *      ① init 时给**真实时间源** —— 不能用空指针强转（见 timing_now_us 的说明）
     *      ② enable —— 不给应用层打点，各段耗时恒为 0
     *      ③ bind   —— 不绑给 port 层，cb_refresh_regs 里 fill 出来就是哨兵 0xFFFE
     *
     * 早期 main_L0_bringup.c 里作者留过原话：
     *   "不 enable→不打点；不 bind→读不到；三种情况结果都是读出来全是 0，
     *    ⚠️ 而那**不代表性能好，只代表没接线**。"
     * 本文件迁移到生产版时把 ①③ 丢了，直到 2026-10-17 才通过
     * `IREG_TM_*` 恒为 0xFFFE 反查出来。 */
    if (gw_timing_init(&g_tm, timing_now_us, 0) == 0) {
        gw_app_enable_timing(&g_app, &g_tm);      /* ② 打点 */
        gw_timing_port_bind(&g_tm);               /* ③ ★ 2026-10-17 补：此前缺失 */
    } else {
        GW_LOG_WRN(&g_log, GW_LOG_MOD_SYS, 9u, 0u);
    }

    /* ---------------- 12) 调度器 ----------------
     *
     *  ⚠️ RTOS 构建下**不要**启用协作式调度：每个任务自己 `for(;;)`，
     *     主循环根本不存在；两边都去推进同一个任务会打架。
     *     但 `gw_sched_t` 仍然要初始化 —— 不是为了分派，而是为了统计
     *     （`gw_sched_stat().deadline_miss` 是判断"有没有任务超时"的唯一依据）。
     *     那件事由 `gw_rtos_create_tasks()` 做，见下面的 RTOS 分支。
     *
     *  ⚠️⚠️ `GW_MEAS_SEQUENTIAL`（2026-10-17 新增，**默认 0 = 量产行为**）
     *
     *     为什么需要它：`gw_app_poll()` 的结构是
     *         if (app->sched != 0) { gw_sched_run(...); return; }   <-- 调度模式
     *         gw_timing_begin(app->timing, GW_PHASE_SLAVE); ...      <-- 顺序模式
     *     也就是说 **相位耗时打点只在"顺序模式"执行**。而本文件第 12 步总会
     *     启用 gw_sched，于是 M5/M7/M8（从站耗时 / 一轮耗时 / CPU 负载）
     *     在任何出厂配置下都拿不到值：
     *         - RTOS 构建：gw_app_poll() 根本不被调用
     *         - 非 RTOS 构建：走了 gw_sched_run() 分支后 return
     *     定义本宏为 1、并构建**非 RTOS** 版本，即可回到纯顺序模式，
     *     让 gw_timing 的相位打点与 loop 统计生效 —— 这就是 M5/M7/M8 的
     *     "测量专用配置"。量完必须改回 0 并重建量产镜像。
     *
     *     ⚠️ 代价：关掉 gw_sched 后 deadline_miss 统计不可用（仅测量用，可接受）。
     *     ⚠️ 宏的**唯一定义处**在文件顶部（`#include <string.h>` 之后），
     *        这里不再重复定义，避免"两处定义谁生效"的歧义。 */

#if !(defined(GW_USE_FREERTOS) && (GW_USE_FREERTOS == 1))
#if GW_MEAS_SEQUENTIAL
    /* 测量专用：不启用协作式调度 -> gw_app_poll() 走纯顺序分支 -> 计时生效 */
#else
    if (gw_sched_init(&g_sched, gw_app_task_defs(), 0, 0) == 0) {
        gw_sched_start(&g_sched);
        gw_app_enable_sched(&g_app, &g_sched);
    }
#endif
#endif

    /* ---------------- 13) 自检（可选，但强烈建议首次上板时开） ----------------
     *
     * 它会打印一份带"失败了先查什么"的报告。
     * 首次上板时把这一行打开，能省掉大量猜测。
     */
    if (run_selfcheck() == 0) {
        /* 基础项（时钟/GPIO/DWT/Flash）没过，后面的验证没有意义。
           不要急着往下调 —— 先看报告里第一个 FAIL 的"先查什么"。 */
        for (;;) { }
    }

    /* ---------------- 15) 波特率运行时切换 ----------------
     *
     * ⚠️ 初值用 `gw_baud_port_actual()` **从 BRR 反算出来**，
     *    而不是写死 GW_RS485_UART_BAUD。
     *    理由：CubeMX 生成的初始化可能与我们以为的不一致
     *    （例如 .ioc 里改了波特率但没重新生成）。
     *    以硬件实际值为准，状态机才不会与事实脱节。
     */
    {
        uint32_t actual = gw_baud_port_actual();

        if (actual == 0u) {
            actual = GW_RS485_UART_BAUD;    /* 读不出来才退回编译期常量 */
        }
        if (gw_baud_init(&g_baud, actual) != 0) {
            GW_LOG_ERR(&g_log, GW_LOG_MOD_RS485, actual, 1u);
        }
    }

    /* ---------------- 16) OTA 下行帧 ----------------
     *
     * ⚠️ 目标分区必须是**当前运行分区的另一个**。
     *    如果传成当前分区，就成了"原地升级"——
     *    写到一半断电会把正在运行的固件毁掉，且无法回滚。
     *
     *    `gw_ota_boot_decide()` 里已经有 SAME_SLOT 检查会拒绝，
     *    但这里明确算出来更清楚。实际项目中由 Bootloader 决定，
     *    见 doc/ 里的 OTA 说明。
     */
    {
        gw_ota_slot_t target = GW_OTA_SLOT_B;    /* 从 A 启动时升级到 B */

        if (gw_ota_bridge_init(&g_ota, gw_ota_port_io(), target) != 0) {
            GW_LOG_ERR(&g_log, GW_LOG_MOD_APP, 0u, 2u);
        }
        gw_ota_port_stats_reset();

        /* ⚠️ 注册回调之后，应用层才会把 OTA 帧转过来。
           在此之前那三个类型是"显式忽略"的 ——
           测试全绿不等于功能接了线，这一步才是接线。 */
        gw_app_enable_ota(&g_app, ota_handler_cb, &g_ota);
    }

    /* ---------------- 17) 报告启动原因 ---------------- */
    GW_LOG_WRN(&g_log, GW_LOG_MOD_FAULT,
               (uint32_t)g_boot_cause,
               (uint32_t)gw_fault_port_record()->boot_count);

    /* ⚠️ IWDG 尚未使能。理由见 doc/故障处理与日志.md：
       裸机下有 Flash 擦除（20~40ms）、DHT22 时序（关中断 5ms）
       等长阻塞路径，开狗容易误复位。
       FreeRTOS 化后把喂狗放到空闲任务钩子里才可靠。 */

#if defined(GW_USE_FREERTOS) && (GW_USE_FREERTOS == 1)
    /* ---------------- 14) RTOS：建任务 + 使能 IWDG + 启动调度器 ----------------
     *
     *  ⚠️ 这一段与下面的裸机主循环**互斥**。
     *     **业务代码一行都不用改** —— 6 个任务入口的签名
     *     （`void (*entry)(void *ctx)`）与 FreeRTOS 的 `TaskFunction_t` 完全一致。
     */

    /* 建任务（失败要能报出来，所以与启动分开） */
    /* 本地界面：见模板里的同一段说明（屏幕没接上就记一笔继续）*/
    /* ⚠️ 调度器起来之前**必须先喂一次狗**（2026-10-12 板上实测的复位循环）：
     *   MX_IWDG_Init() 在启动早期就开了看门狗（1.6s），而首次喂狗要等调度器起来后的
     *   空闲钩子。本次启动到这里已经花了约 1.3s（启动日志 + 外设初始化），
     *   紧接着的界面初始化还要约 0.3s -> 越过 1.6s -> 就在 hw_reset() 的
     *   HAL_Delay(20) 里被狗复位，现象是"每次停在同一个进度码 + boot_count 一直涨"。
     *   L0 设计里本来就写着"长阻塞路径自己喂狗"，这里补上。 */
    (void)HAL_IWDG_Refresh(&hiwdg);

    {

    g_prog = 0x43u;
    g_prog = 0x44u;

#if defined(GW_USE_LVGL)
    /* ---- LVGL 显示路径（构建开关 -Lvgl；与自绘界面二选一，两条都往同一块屏画）----
       LVGL 也要先 lcd_init()；起不来时同样是 ui_rc != 0，走下面原有的背光故障信号。
       ⚠️ LVGL 的 tick/handler 由 RTOS 已有的 UI 钩子驱动（port/gw_rtos.c）。 */
    int ui_rc = -1;
    if (lcd_init() == 0) {
        (void)lvgl_port_init();
        gw_lvgl_ui_build();
        ui_rc = 0;
    }
#else
    int ui_rc = gw_ui_init(&g_ui_port);
#endif
    g_prog = 0x45u;
    if (ui_rc != 0) {
        /* 屏幕没接上：只记一笔就继续（同模板说明；不猜日志 API）。 */
        s_ui_absent = 1;
        /* ⚠️ 自解释的故障信号（2026-10-12 加）：界面起不来时**没有任何反馈**最难查
         * —— 看不出是供电/接线/读 ID 失败，还是界面逻辑问题，而且现场不一定有
         * 串口工具或 SWD。背光是已经确认能工作的一路（用户实测见过它亮），
         * 所以拿它当指示灯：
         *     正常 = 红屏闪一下 -> 出界面，背光常亮
         *     失败 = 背光闪 3 下（150ms 间隔），然后不画界面，其它功能照跑
         * 零额外硬件、零额外工具，一眼就能区分"屏幕/接线"与"界面逻辑"。 */
        {
            /* ⚠️ 2026-10-12：原来是"闪 |返回码| 下"的故障信号，
               实测与画面刷新混淆 => 暂时只点亮常亮，返回码用进度码读取。 */
            lcd_backlight(1);
        }
    }
    }

    g_prog = 0x46u;
    if (gw_rtos_create_tasks(&g_app) != 0) {
        /* 返回值是"第几个任务失败 + 3"。
           最常见原因：configTOTAL_HEAP_SIZE 不够 ——
           ⚠️ 那个值由 tools/check_rtos_hooks.py 在 CI 里机械核算（缺陷 S）。
           ⚠️ 用工程自己的日志宏 + flush_log()，不要用 printf：
              本工程**没有重定向 printf**（没有 _write/fputc），
              裸机上 printf 通常什么都不输出。 */
        GW_LOG_ERR(&g_log, GW_LOG_MOD_APP, 0u, 0u);
        flush_log();
        for (;;) { }
    }

    /* 使能 IWDG。
       ⚠️ 喂狗在**空闲任务钩子** `vApplicationIdleHook()` 里，判据是
          `gw_app_watchdog_ok()`（"6 个任务都跑过一轮了"）——
          比裸机下"主循环转了一圈"严格，也是唯一能检出**任务级死锁**的判据。 */
    if (gw_rtos_iwdg_enable(1) != 0) {
        GW_LOG_WRN(&g_log, GW_LOG_MOD_APP, 1u, 0u);
        flush_log();
    }

    /* 启动调度器 —— 正常情况下**不返回** */
    g_prog = 0x48u;
    gw_rtos_start(&g_app);

    /* 走到这里说明调度器没起来（堆不够时会先在上面的 create_tasks 返回非 0） */
    GW_LOG_ERR(&g_log, GW_LOG_MOD_APP, 2u, 0u);
    flush_log();
    for (;;) { }

#else  /* ---------------- 14) 裸机主循环 ---------------- */
    for (;;) {
        uint32_t now;
        uint32_t dt;

        /* ⚠️ 用 HAL_GetTick 算实际间隔，而不是假设一定是 10ms。
           这样即使某一轮被中断拖长，上报节拍仍然准确。 */
        static uint32_t last_tick = 0u;

        now = HAL_GetTick();
        dt  = now - last_tick;
        last_tick = now;

        if (dt == 0u) {
            continue;               /* 同一毫秒内重复进入：跳过 */
        }

        /* 推进应用层（内部按调度器或顺序模式跑 6 个任务） */
        gw_app_poll(&g_app, dt);

        /* ⚠️ 其余内务与 RTOS 路径**共用同一个函数**（缺陷 W）——
           别把这里的任何一段抄回主循环，否则两条路径迟早不一致。 */
        app_housekeeping(dt);

        HAL_Delay(1);
    }
#endif  /* GW_USE_FREERTOS：裸机主循环与 RTOS 分支互斥 */
}

/* ==================== 复制结束 ==================== */

/* ---- 句柄 / MX_*_Init 声明块：从工程 main.c 逐字搬来 ----
 *  ⚠️ 本工程 CubeMX 是"按外设生成 .c/.h"：句柄与 MX_*_Init 的**定义**
 *     在 usart.c / can.c / gpio.c / iwdg.c / spi.c / dma.c 里，声明在
 *     对应的 .h 里；而这个工程的 main.h **一个 MX_ 都没有**。生产模板
 *     没有这块 -> 不搬会报 'huart1 undeclared' 与一堆
 *     'implicit declaration of MX_GPIO_Init'（**编译期**，不是链接期）。
 *     （2026-10-11 手工预演当场发现；现在 CI 会跑 --check --verify-compile）*/
#include "main.h"
#include "can.h"
#include "dma.h"
#include "spi.h"
#include "usart.h"
#include "gpio.h"

void SystemClock_Config(void);
void MX_FREERTOS_Init(void);
/* USER CODE END Includes */

void SystemClock_Config(void);
void MX_FREERTOS_Init(void);

void SystemClock_Config(void)
{
  RCC_OscInitTypeDef RCC_OscInitStruct = {0};
  RCC_ClkInitTypeDef RCC_ClkInitStruct = {0};

  /** Initializes the RCC Oscillators according to the specified parameters
  * in the RCC_OscInitTypeDef structure.
  */
  RCC_OscInitStruct.OscillatorType = RCC_OSCILLATORTYPE_LSI|RCC_OSCILLATORTYPE_HSE;
  RCC_OscInitStruct.HSEState = RCC_HSE_ON;
  RCC_OscInitStruct.HSEPredivValue = RCC_HSE_PREDIV_DIV1;
  RCC_OscInitStruct.HSIState = RCC_HSI_ON;
  RCC_OscInitStruct.LSIState = RCC_LSI_ON;
  RCC_OscInitStruct.PLL.PLLState = RCC_PLL_ON;
  RCC_OscInitStruct.PLL.PLLSource = RCC_PLLSOURCE_HSE;
  RCC_OscInitStruct.PLL.PLLMUL = RCC_PLL_MUL9;
  if (HAL_RCC_OscConfig(&RCC_OscInitStruct) != HAL_OK)
  {
    Error_Handler();
  }

  /** Initializes the CPU, AHB and APB buses clocks
  */
  RCC_ClkInitStruct.ClockType = RCC_CLOCKTYPE_HCLK|RCC_CLOCKTYPE_SYSCLK
                              |RCC_CLOCKTYPE_PCLK1|RCC_CLOCKTYPE_PCLK2;
  RCC_ClkInitStruct.SYSCLKSource = RCC_SYSCLKSOURCE_PLLCLK;
  RCC_ClkInitStruct.AHBCLKDivider = RCC_SYSCLK_DIV1;
  RCC_ClkInitStruct.APB1CLKDivider = RCC_HCLK_DIV2;
  RCC_ClkInitStruct.APB2CLKDivider = RCC_HCLK_DIV1;

  if (HAL_RCC_ClockConfig(&RCC_ClkInitStruct, FLASH_LATENCY_2) != HAL_OK)
  {
    Error_Handler();
  }
}

void HAL_TIM_PeriodElapsedCallback(TIM_HandleTypeDef *htim)
{
  if (htim->Instance == TIM4)
  {
    HAL_IncTick();
  }
}

/* ⚠️⚠️ 临时诊断（2026-10-11/12）：记录"谁调了 Error_Handler"。
   .noinit 段不参与启动清零，所以跨复位保留 —— 正好用来在现场抓这种
   "关中断空转 + 被看门狗复位"的循环。读法：
     nm 找 s_err_from / s_err_tick，SWD 读出来，addr2line s_err_from 即调用者。
   验证完把这里恢复成原来的空实现。 */
__attribute__((section(".noinit")))
volatile uint32_t s_err_from;
__attribute__((section(".noinit")))
volatile uint32_t s_err_tick;

void Error_Handler(void)
{
  /* USER CODE BEGIN Error_Handler_Debug */
  /* User can add his own implementation to report the HAL error return state */
  s_err_from = (uint32_t)(uintptr_t)__builtin_return_address(0);
  s_err_tick = HAL_GetTick();
  __disable_irq();
  while (1)
  {
  }
  /* USER CODE END Error_Handler_Debug */
}
